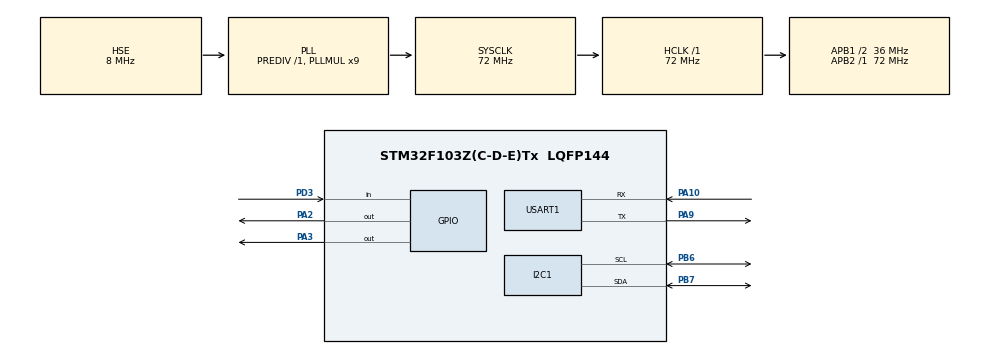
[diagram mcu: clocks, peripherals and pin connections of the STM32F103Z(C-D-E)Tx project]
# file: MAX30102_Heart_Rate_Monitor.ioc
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Mcu.Family=STM32F1
Mcu.Name=STM32F103Z(C-D-E)Tx
Mcu.Package=LQFP144
NVIC.PriorityGroup=NVIC_PRIORITYGROUP_4
NVIC.USART1_IRQn=true\:0\:0\:false\:false\:true\:true\:true\:true
OSC_IN.Mode=HSE-External-Oscillator
OSC_IN.Signal=RCC_OSC_IN
OSC_OUT.Mode=HSE-External-Oscillator
OSC_OUT.Signal=RCC_OSC_OUT
PA10.Mode=Asynchronous
PA10.Signal=USART1_RX
PA13.Mode=Serial_Wire
PA13.Signal=SYS_JTMS-SWDIO
PA14.Mode=Serial_Wire
PA14.Signal=SYS_JTCK-SWCLK
PA2.GPIO_ModeDefaultOutputPP=GPIO_MODE_OUTPUT_OD
PA2.GPIO_PuPd=GPIO_PULLUP
PA2.Signal=GPIO_Output
PA3.GPIO_ModeDefaultOutputPP=GPIO_MODE_OUTPUT_OD
PA3.GPIO_PuPd=GPIO_PULLUP
PA3.Signal=GPIO_Output
PA9.Mode=Asynchronous
PA9.Signal=USART1_TX
PB6.Mode=I2C
PB6.Signal=I2C1_SCL
PB7.Mode=I2C
PB7.Signal=I2C1_SDA
PD3.Signal=GPIO_Input
ProjectManager.HeapSize=0x200
ProjectManager.StackSize=0x400
ProjectManager.TargetToolchain=MDK-ARM V5.32
RCC.AHBFreq_Value=72000000
RCC.APB1CLKDivider=RCC_HCLK_DIV2
RCC.APB1Freq_Value=36000000
RCC.APB1TimFreq_Value=72000000
RCC.APB2Freq_Value=72000000
RCC.APB2TimFreq_Value=72000000
RCC.HCLKFreq_Value=72000000
RCC.PLLMUL=RCC_PLL_MUL9
RCC.PLLSourceVirtual=RCC_PLLSOURCE_HSE
RCC.SYSCLKFreq_VALUE=72000000
RCC.SYSCLKSource=RCC_SYSCLKSOURCE_PLLCLK
RCC.USBFreq_Value=72000000
USART1.VirtualMode=VM_ASYNC
board=custom

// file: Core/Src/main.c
/* USER CODE BEGIN Header */
/**
  ******************************************************************************
  * @file           : main.c
  * @brief          : Main program body
  ******************************************************************************
  * @attention
  *
  * Copyright (c) 2026 STMicroelectronics.
  * All rights reserved.
  *
  * This software is licensed under terms that can be found in the LICENSE file
  * in the root directory of this software component.
  * If no LICENSE file comes with this software, it is provided AS-IS.
  *
  ******************************************************************************
  */
/* USER CODE END Header */
#include "main.h"
#include "i2c.h"
#include "usart.h"
#include "gpio.h"

/* USER CODE BEGIN Includes */
#include "max30102.h"
#include "gui.h"
#include "stdio.h"
#include "string.h"
#include "oled.h"
#include "font.h"
#include "math.h"
#include "stdlib.h"
#include "Heart_Rate.h"
/* USER CODE END Includes */

/* USER CODE BEGIN PV */
float raw_ac_ir = 0;
float lpf_ac_ir = 0;
/* USER CODE END PV */

void SystemClock_Config(void);

int main(void)
{

  /* MCU Configuration--------------------------------------------------------*/

  /* Reset of all peripherals, Initializes the Flash interface and the Systick. */
  HAL_Init();

  /* Configure the system clock */
  SystemClock_Config();

  /* Initialize all configured peripherals */
  MX_GPIO_Init();
  MX_USART1_UART_Init();
  MX_I2C1_Init();
  /* USER CODE BEGIN 2 */

  atk_max30102_init();
  uint16_t cnt = 0;
  printf("MAX30102 init done\n, put your finger on the sensor");
  /* USER CODE END 2 */

  /* Infinite loop */
  /* USER CODE BEGIN WHILE */
  while (1)
  {
    if(g_max30102_int_flag)
    {
      g_max30102_int_flag = 0;
      atk_max30102_fifo_read(&buf_red, &buf_ir);
      int bpm = Hear_Rate_Calculate();
      if( bpm > 0 )
      {
        printf("BPM: %d\n", bpm);

      }
    }

  }
  /* USER CODE END WHILE */
}

void SystemClock_Config(void)
{
  RCC_OscInitTypeDef RCC_OscInitStruct = {0};
  RCC_ClkInitTypeDef RCC_ClkInitStruct = {0};

  /** Initializes the RCC Oscillators according to the specified parameters
  * in the RCC_OscInitTypeDef structure.
  */
  RCC_OscInitStruct.OscillatorType = RCC_OSCILLATORTYPE_HSE;
  RCC_OscInitStruct.HSEState = RCC_HSE_ON;
  RCC_OscInitStruct.HSEPredivValue = RCC_HSE_PREDIV_DIV1;
  RCC_OscInitStruct.HSIState = RCC_HSI_ON;
  RCC_OscInitStruct.PLL.PLLState = RCC_PLL_ON;
  RCC_OscInitStruct.PLL.PLLSource = RCC_PLLSOURCE_HSE;
  RCC_OscInitStruct.PLL.PLLMUL = RCC_PLL_MUL9;
  if (HAL_RCC_OscConfig(&RCC_OscInitStruct) != HAL_OK)
  {
    Error_Handler();
  }

  /** Initializes the CPU, AHB and APB buses clocks
  */
  RCC_ClkInitStruct.ClockType = RCC_CLOCKTYPE_HCLK|RCC_CLOCKTYPE_SYSCLK
                              |RCC_CLOCKTYPE_PCLK1|RCC_CLOCKTYPE_PCLK2;
  RCC_ClkInitStruct.SYSCLKSource = RCC_SYSCLKSOURCE_PLLCLK;
  RCC_ClkInitStruct.AHBCLKDivider = RCC_SYSCLK_DIV1;
  RCC_ClkInitStruct.APB1CLKDivider = RCC_HCLK_DIV2;
  RCC_ClkInitStruct.APB2CLKDivider = RCC_HCLK_DIV1;

  if (HAL_RCC_ClockConfig(&RCC_ClkInitStruct, FLASH_LATENCY_2) != HAL_OK)
  {
    Error_Handler();
  }
}

void Error_Handler(void)
{
  __disable_irq();
  while (1)
  {
  }
}
